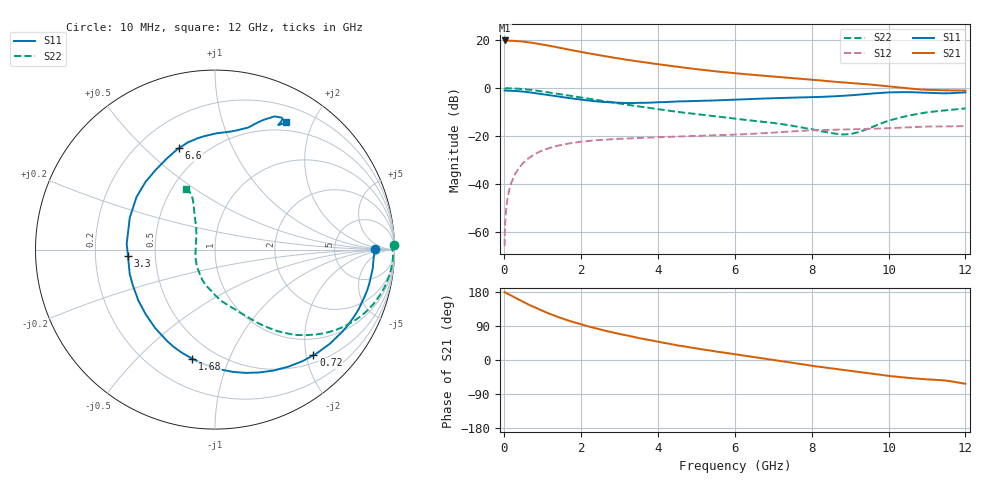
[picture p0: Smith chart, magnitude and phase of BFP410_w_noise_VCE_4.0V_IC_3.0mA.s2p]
! Infineon Technologies  Discrete & RF Semiconductors
! BFP410
! VCE =  4.0 V,  IC =  3.0 mA
! Common Emitter S-Parameters:  Nov 2015
# GHz  S  MA  R  50
!  f  S11  S21  S12  S22
! GHz  MAG  ANG  MAG  ANG  MAG  ANG  MAG  ANG
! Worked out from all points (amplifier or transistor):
!   243 points, 10 MHz to 12 GHz, reference 50 ohm
!   highest |S21| = 19.9 dB at 10 MHz (marker M1)
!   |S21| within 3 dB of that: start of sweep to 1.423 GHz
!   unconditionally stable (mu >= 1): 3.67 GHz to end of sweep
!   at 240 MHz: K = 0.09, MSG = 28.6 dB, |S12| = -37.4 dB
!   at 1.84 GHz: K = 0.47, MSG = 19.2 dB, |S12| = -22.7 dB
!   at 12 GHz: K = 1.10, MAG = 5.5 dB, |S12| = -15.9 dB
!   lowest NFmin = 0.87 dB at 900 MHz
!   S11 on the Smith chart (normalised r, x): 10 MHz: 17, +1; 720 MHz: 0.64, -2.14; 1.68 GHz: 0.38, -0.74; 3.3 GHz: 0.35, -0.03; 6.6 GHz: 0.36, +0.64; 12 GHz: 0.39, +1.64
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0.01  0.8913 0.3  9.885 179.2  0.0005 17.5  0.9976 1.4
0.02  0.8898 -0.5  9.822 178.7  0.0014 60.7  0.986 0.3
0.04  0.8864 -2.2  9.787 177.4  0.0024 73.8  0.9905 -0.6
0.155  0.8814 -10.1  9.769 171.4  0.0089 81.2  0.9904 -4.8
0.34  0.8665 -22.4  9.605 161.7  0.0191 77.0  0.9739 -10.8
0.5  0.8439 -32.9  9.345 153.2  0.0277 72.3  0.9518 -15.7
0.72  0.8045 -47.0  8.859 142.3  0.0383 65.6  0.9116 -22.1
0.92  0.7644 -59.3  8.347 132.9  0.0469 59.8  0.8687 -27.4
1.18  0.7117 -74.7  7.647 121.9  0.0564 53.2  0.8083 -33.6
1.4  0.6692 -87.2  7.058 113.3  0.0629 48.0  0.758 -38.1
1.68  0.6203 -101.9  6.38 103.8  0.0697 42.5  0.6987 -43.0
2.02  0.572 -118.5  5.649 93.6  0.0761 36.8  0.6337 -48.0
2.6  0.5125 -146.4  4.664 77.9  0.0838 28.7  0.5317 -55.3
3.3  0.4864 -175.8  3.79 62.6  0.0892 22.1  0.4373 -62.5
4.1  0.5085 156.9  3.081 46.4  0.0947 16.8  0.3544 -71.0
5  0.5404 135.8  2.485 30.3  0.1001 12.0  0.2872 -83.2
6.1  0.5768 116.8  2.011 13.7  0.1073 8.0  0.2253 -96.8
6.6  0.5997 109.4  1.855 6.2  0.1125 6.3  0.2028 -105.1
8.2  0.654 86.0  1.452 -17.9  0.1329 -3.4  0.1275 -144.9
9  0.7052 74.7  1.278 -28.7  0.1377 -8.7  0.1094 166.5
10.2  0.818 64.6  1.045 -44.0  0.1477 -14.7  0.2307 119.6
12  0.8137 60.7  0.889 -62.8  0.1609 -28.7  0.3747 115.1
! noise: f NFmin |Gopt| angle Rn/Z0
0.45  0.92  0.39  6  0.24
0.9  0.87  0.38  20  0.22
1.8  1.07  0.29  53  0.19
2.4  1.11  0.25  58  0.19
5.5  2.12  0.33  -139  0.2
10  3.64  0.68  -55  1.98
